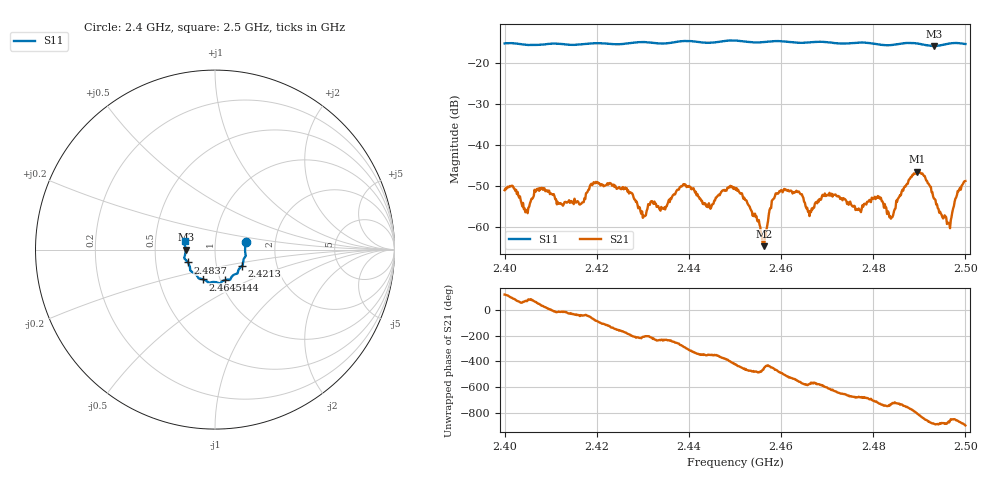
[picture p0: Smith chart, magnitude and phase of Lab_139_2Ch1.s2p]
# Hz S RI R 50
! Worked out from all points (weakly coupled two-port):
!   601 points, 2.4 GHz to 2.5 GHz, reference 50 ohm
!   highest |S21| = -46.42 dB at 2.4895 GHz (marker M1); lowest = -64.6 dB at 2.4563 GHz (marker M2)
!   lowest |S11| = -15.7 dB at 2.4932 GHz (marker M3), VSWR 1.39, Z = 35.9 - j0.0442 ohm
!   |S11| at or under -10 dB: start of sweep to end of sweep
!   S12 and S22 are empty: the file has one direction only
!   S11 on the Smith chart (normalised r, x): 2.4 GHz: 1.41, +0.12; 2.4213 GHz: 1.33, -0.25; 2.444 GHz: 1.06, -0.37; 2.4645 GHz: 0.83, -0.29; 2.4837 GHz: 0.73, -0.11; 2.5 GHz: 0.71, +0.07
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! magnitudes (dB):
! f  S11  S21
! 2.4 GHz  -15.1  -51.0
! 2.4047 GHz  -15.4  -56.2
! 2.4082 GHz  -15.4  -50.5
! 2.4167 GHz  -15.3  -54.3
! 2.4213 GHz  -15.1  -49.7
! 2.4302 GHz  -14.8  -57.2
! 2.4333 GHz  -15.1  -54.9
! 2.4388 GHz  -14.5  -49.5
! 2.444 GHz  -15.0  -54.6
! 2.45 GHz  -14.4  -50.6
! 2.4563 GHz  -14.8  -64.6
! 2.4592 GHz  -14.5  -51.7
! 2.4645 GHz  -15.0  -51.9
! 2.4667 GHz  -14.8  -55.4
! 2.4705 GHz  -14.9  -51.6
! 2.4812 GHz  -15.4  -52.9
! 2.4833 GHz  -15.6  -56.4
! 2.4837 GHz  -15.5  -57.4
! 2.4895 GHz  -15.1  -46.4
! 2.4932 GHz  -15.7  -53.0
! 2.4965 GHz  -15.1  -59.0
! 2.5 GHz  -15.2  -48.7
